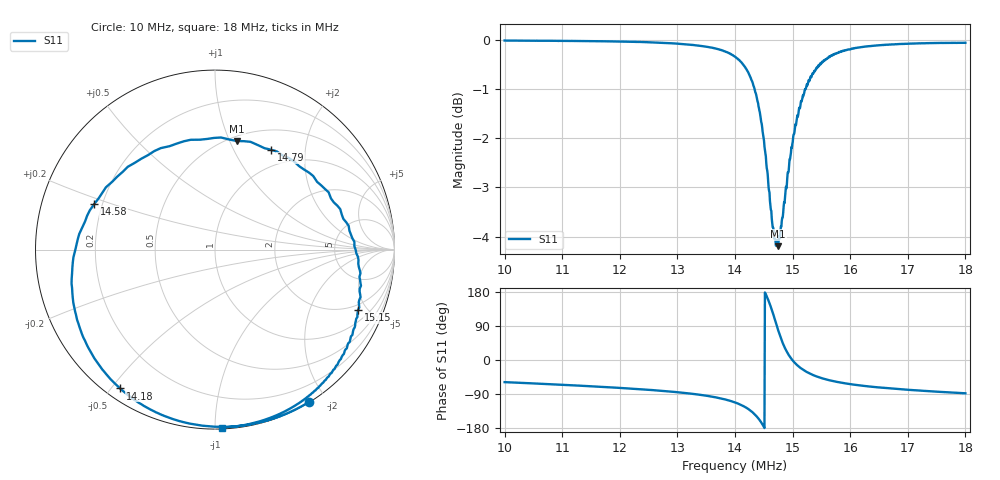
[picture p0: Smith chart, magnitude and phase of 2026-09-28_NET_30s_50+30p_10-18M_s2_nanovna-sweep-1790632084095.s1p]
! NanoVNA Web complex sweep
! Processing: unaveraged complex samples; linear segment spacing; no smoothing
# Hz S RI R 50
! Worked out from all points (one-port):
!   1010 points, 10 MHz to 18 MHz, reference 50 ohm
!   lowest |S11| = -4.2 dB at 14.75 MHz (marker M1), VSWR 4.22, Z = 27.3 + j53.3 ohm
!   |S11| at or under -10 dB: nowhere
!   S11 on the Smith chart (normalised r, x): 10 MHz: 0.00, -1.79; 14.18 MHz: 0.04, -0.53; 14.58 MHz: 0.17, +0.18; 14.79 MHz: 0.76, +1.42; 15.15 MHz: 1.64, -4.36; 18 MHz: 0.01, -1.04
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1e7  0.523 -0.8498
1.100698e7  0.4139 -0.907
1.200604e7  0.2797 -0.9554
1.300509e7  0.085 -0.9869
1.359184e7  -0.1108 -0.975
1.400414e7  -0.3624 -0.8895
1.417858e7  -0.5293 -0.7734
1.428959e7  -0.6543 -0.6312
1.438474e7  -0.7551 -0.431
1.449574e7  -0.7921 -0.0704
1.453539e7  -0.7565 0.0867
1.457503e7  -0.6721 0.2547
1.462261e7  -0.5135 0.4338
1.467018e7  -0.302 0.5655
1.470983e7  -0.0838 0.6123
1.474947e7  0.1232 0.6048
1.478912e7  0.3115 0.5565
1.483669e7  0.4959 0.4462
1.488426e7  0.6331 0.3194
1.493977e7  0.7317 0.1515
1.50032e7  0.7875 -0.0213
1.515385e7  0.7971 -0.3355
1.53045e7  0.7369 -0.5403
1.547894e7  0.6491 -0.6881
1.570095e7  0.5455 -0.797
1.600225e7  0.4336 -0.8764
1.700131e7  0.1955 -0.9709
1.800036e7  0.0369 -0.9918
